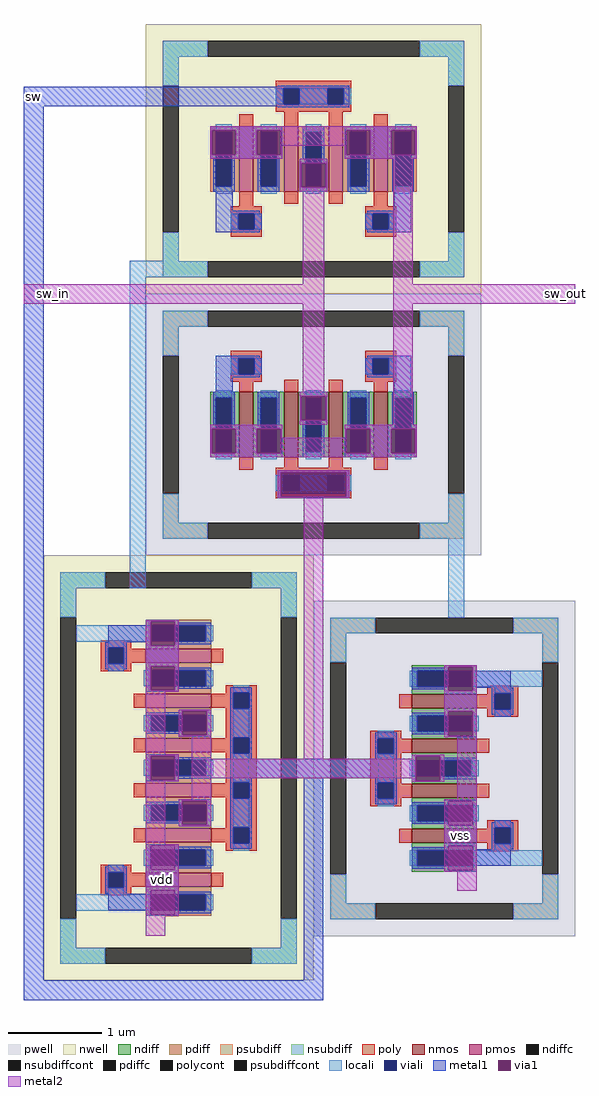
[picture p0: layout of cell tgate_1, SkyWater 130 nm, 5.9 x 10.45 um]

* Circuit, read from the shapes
.subckt tgate_1 sw vdd vss sw_out sw_in
XM1 sw_out sw_out sw_out vss sky130_fd_pr__nfet_01v8 w=0.7 l=0.15 m=2
XM2 sw_in inv_simple1_0/out sw_out vss sky130_fd_pr__nfet_01v8 w=0.7 l=0.15 m=2
XM3 vss vss vss vss sky130_fd_pr__nfet_01v8 w=0.7 l=0.15 m=2
XM4 inv_simple1_0/out sw vss vss sky130_fd_pr__nfet_01v8 w=0.7 l=0.15 m=2
XM5 vdd vdd vdd vdd sky130_fd_pr__pfet_01v8 w=0.7 l=0.15 m=2
XM6 inv_simple1_0/out sw vdd vdd sky130_fd_pr__pfet_01v8 w=0.7 l=0.15 m=4
XM7 sw_out sw_out sw_out vdd sky130_fd_pr__pfet_01v8 w=0.7 l=0.15 m=2
XM8 sw_in sw sw_out vdd sky130_fd_pr__pfet_01v8 w=0.7 l=0.15 m=2
.ends

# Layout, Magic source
magic
tech sky130A
magscale 1 2
<< locali >>
rect -35 596 70 631
rect -35 -70 0 596
rect 647 -133 682 70
<< metal1 >>
rect -261 962 282 1004
rect -261 -910 -219 962
rect 282 178 436 182
rect 282 126 289 178
rect 429 126 436 178
rect 282 122 436 126
rect -261 -952 380 -910
<< via1 >>
rect 289 126 429 178
<< metal2 >>
rect -261 539 0 581
rect 717 539 919 581
rect 282 178 436 182
rect 282 126 289 178
rect 429 126 436 178
rect 282 122 436 126
rect 338 -1 380 122
rect 0 -772 70 -618
rect 639 -676 709 -522
rect 667 -718 709 -676
rect 0 -814 42 -772
use inv_simple1  inv_simple1_0
transform 0 -1 306 1 0 -858
box -53 -613 858 525
use tg_1  tg_1_0
transform 1 0 53 0 1 613
box -53 -613 665 525
<< labels >>
rlabel metal1 -261 962 -219 1004 0 sw
port 1 n
rlabel metal2 0 -772 70 -618 0 vdd
port 2 n
rlabel metal2 639 -676 709 -522 1 vss
port 3 n
rlabel metal2 877 539 919 581 0 sw_out
port 4 n
rlabel metal2 -219 539 -177 581 0 sw_in
port 5 n
<< end >>

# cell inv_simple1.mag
magic
tech sky130A
magscale 1 2
<< locali >>
rect 97 306 131 455
rect 673 306 707 455
rect 193 -543 227 -403
rect 577 -543 611 -403
<< metal1 >>
rect 381 -32 423 79
rect -53 -74 423 -32
rect 381 -185 423 -74
<< metal2 >>
rect 85 236 239 306
rect 381 -32 423 166
rect 381 -74 857 -32
rect 381 -263 423 -74
rect 181 -403 335 -333
use sinv_n  sinv_n_0
transform 1 0 402 0 1 -333
box -359 -280 359 280
use sinv_p  sinv_p_0
transform 1 0 403 0 1 236
box -455 -289 455 289
<< labels >>
rlabel metal1 -53 -74 -11 -32 0 in
port 1 n
rlabel metal2 815 -74 857 -32 6 out
port 5 n
rlabel metal2 85 236 239 306 1 vdd
port 6 n
rlabel metal2 181 -403 335 -333 0 vss
port 4 n
<< end >>

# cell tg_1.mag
magic
tech sky130A
magscale 1 2
<< metal2 >>
rect 283 -32 329 166
rect -53 -74 329 -32
rect 283 -263 329 -74
rect 477 -32 519 236
rect 477 -74 665 -32
rect 477 -333 519 -74
use tg_n  sky130_fd_pr__nfet_01v8_2AA63J_0
transform 1 0 306 0 1 -333
box -359 -280 359 280
use tg_p  sky130_fd_pr__pfet_01v8_X679XQ_0
transform 1 0 306 0 1 236
box -359 -289 359 289
<< end >>

# cell tg_n: kit device sky130_fd_pr__nfet_01v8, w 0.7 l 0.150 m 1 nf 4 diffcov 100 polycov 100 guard 1 glc 1 grc 1 gtc 1 gbc 1 tbcov 100 rlcov 100 topc 1 botc 1 poverlap 0 doverlap 1 lmin 0.15 wmin 0.42 compatible {sky130_fd_pr__nfet_01v8 sky130_fd_pr__nfet_01v8_lvt sky130_fd_bs_flash__special_sonosfet_star sky130_fd_pr__nfet_g5v0d10v5 sky130_fd_pr__nfet_05v0_nvt sky130_fd_pr__nfet_03v3_nvt} full_metal 1 viasrc 100 viadrn 100 viagate 100 viagb 0 viagr 0 viagl 0 viagt 0

# cell tg_p: kit device sky130_fd_pr__pfet_01v8, w 0.7 l 0.15 m 1 nf 4 diffcov 100 polycov 100 guard 1 glc 1 grc 1 gtc 1 gbc 1 tbcov 100 rlcov 100 topc 1 botc 1 poverlap 0 doverlap 1 lmin 0.15 wmin 0.42 compatible {sky130_fd_pr__pfet_01v8 sky130_fd_pr__pfet_01v8_lvt sky130_fd_pr__pfet_01v8_hvt sky130_fd_pr__pfet_g5v0d10v5} full_metal 1 viasrc 100 viadrn 100 viagate 100 viagb 0 viagr 0 viagl 0 viagt 0

# cell sinv_n: kit device sky130_fd_pr__nfet_01v8, w 0.7 l 0.150 m 1 nf 4 diffcov 100 polycov 100 guard 1 glc 1 grc 1 gtc 1 gbc 1 tbcov 100 rlcov 100 topc 1 botc 1 poverlap 0 doverlap 1 lmin 0.15 wmin 0.42 compatible {sky130_fd_pr__nfet_01v8 sky130_fd_pr__nfet_01v8_lvt sky130_fd_bs_flash__special_sonosfet_star sky130_fd_pr__nfet_g5v0d10v5 sky130_fd_pr__nfet_05v0_nvt sky130_fd_pr__nfet_03v3_nvt} full_metal 1 viasrc 100 viadrn 100 viagate 100 viagb 0 viagr 0 viagl 0 viagt 0

# cell sinv_p: kit device sky130_fd_pr__pfet_01v8, w 0.7 l 0.15 m 1 nf 6 diffcov 100 polycov 100 guard 1 glc 1 grc 1 gtc 1 gbc 1 tbcov 100 rlcov 100 topc 1 botc 1 poverlap 0 doverlap 1 lmin 0.15 wmin 0.42 compatible {sky130_fd_pr__pfet_01v8 sky130_fd_pr__pfet_01v8_lvt sky130_fd_pr__pfet_01v8_hvt sky130_fd_pr__pfet_g5v0d10v5} full_metal 1 viasrc 100 viadrn 100 viagate 100 viagb 0 viagr 0 viagl 0 viagt 0
